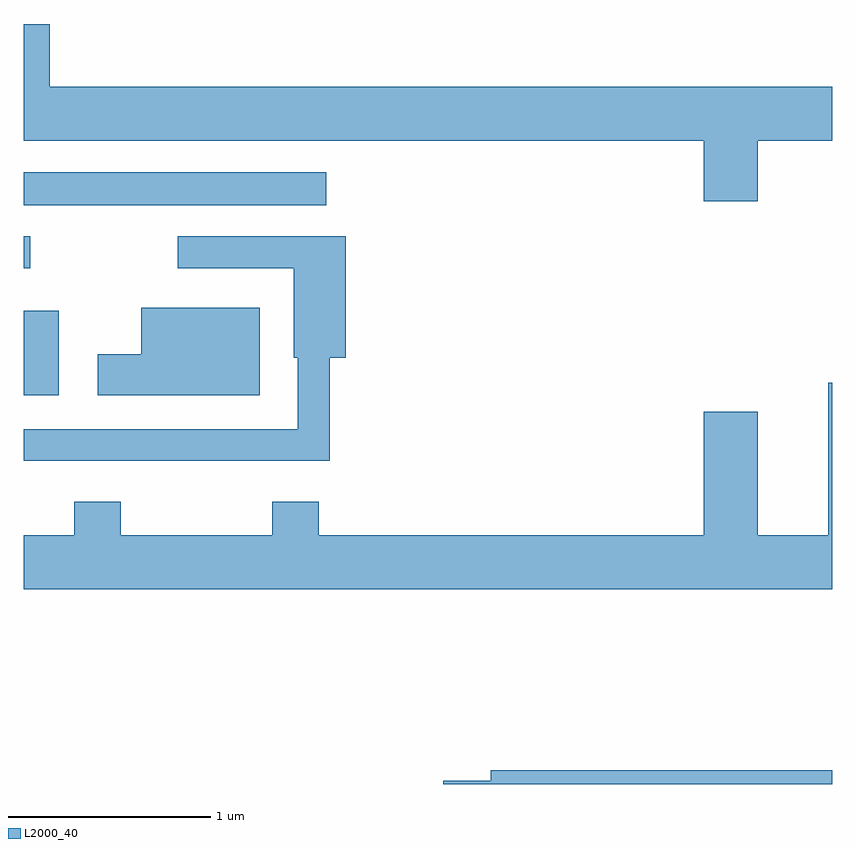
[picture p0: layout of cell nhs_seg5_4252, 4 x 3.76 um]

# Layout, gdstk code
import gdstk
lib = gdstk.Library(unit=1e-6, precision=1e-09)
def R(c, l, rs):  # rectangles x0, y0, x1, y1
    for r in rs: c.add(gdstk.rectangle(r[:2], r[2:], *l))
def P(c, l, *ps):  # polygons
    for p in ps: c.add(gdstk.Polygon(p, *l))
L2000_40 = (2000, 40)

nhs_seg5_4252 = lib.new_cell('nhs_seg5_4252')
R(nhs_seg5_4252, L2000_40, [(311.611,1439.996,311.784,1440.414), (311.611,1440.626,311.643,1440.784), (311.611,1440.936,313.108,1441.099)])
P(nhs_seg5_4252, L2000_40, [(315.244,1441.256),(315.611,1441.256),(315.611,1441.524),(311.739,1441.524),(311.739,1441.834),(311.611,1441.834),(311.611,1441.256),(314.976,1441.256),(314.976,1440.956),(315.244,1440.956)],
  [(313.124,1440.181),(313.204,1440.181),(313.204,1440.784),(312.373,1440.784),(312.373,1440.626),(312.946,1440.626),(312.946,1440.181),(312.966,1440.181),(312.966,1439.829),(311.611,1439.829),(311.611,1439.671),(313.124,1439.671)],
  [(312.779,1440.429),(312.191,1440.429),(312.191,1440.199),(311.976,1440.199),(311.976,1439.996),(312.779,1439.996)],
  [(315.611,1440.059),(315.591,1440.059),(315.591,1439.304),(315.244,1439.304),(315.244,1439.914),(314.976,1439.914),(314.976,1439.304),(313.069,1439.304),(313.069,1439.469),(312.841,1439.469),(312.841,1439.304),(312.089,1439.304),(312.089,1439.469),(311.861,1439.469),(311.861,1439.304),(311.611,1439.304),(311.611,1439.036),(315.611,1439.036)],
  [(315.611,1438.139),(313.921,1438.139),(313.921,1438.089),(313.686,1438.089),(313.686,1438.072),(315.611,1438.072)])

lib.write_gds('nhs_seg5_4252.gds')
